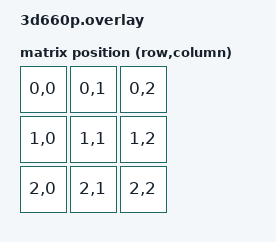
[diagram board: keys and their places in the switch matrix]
#include <dt-bindings/zmk/matrix_transform.h> // Put this with the other includes at the top of your overlay

/ {
    chosen {
        zmk,physical-layout = &default_layout;
        // Other chosen items
    };
};

/ {
    default_transform: keymap_transform0 {
        compatible = "zmk,matrix-transform";
        columns = <3>; // Length of the "col-gpios" array
        rows = <3>; // Length of the "row-gpios" array
        map = <
        //   Key 1 | Key 2 | Key 3
            RC(0,0) RC(0,1) RC(0,2)
        //   Key 4 | Key 5 | Key 6
            RC(1,0) RC(1,1) RC(1,2)
        //   Key 7 | Key 8 | Key 9
            RC(2,0) RC(2,1) RC(2,2)
        >;
    };
};

/ {
    default_layout: default_layout {
        compatible = "zmk,physical-layout";
        display-name = "Default Layout";
        transform = <&default_transform>;
        kscan = <&kscan0>;
    };
};
